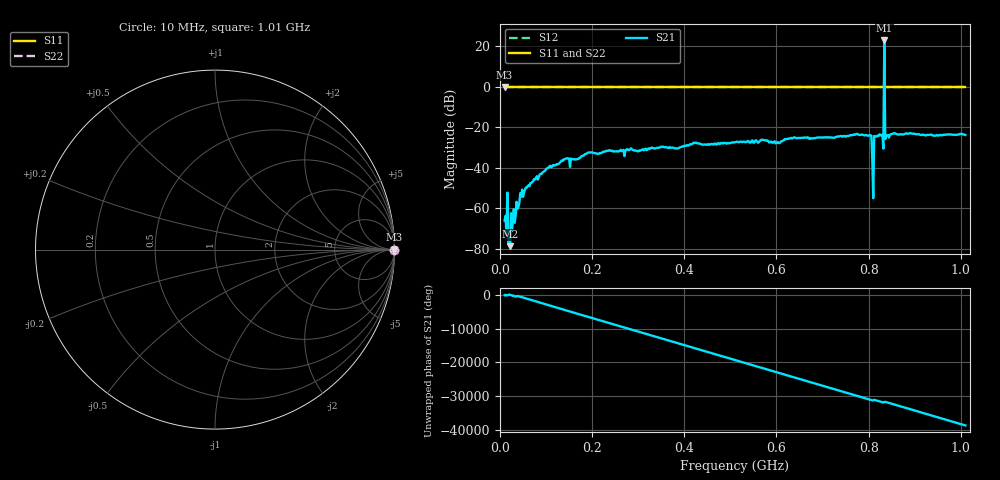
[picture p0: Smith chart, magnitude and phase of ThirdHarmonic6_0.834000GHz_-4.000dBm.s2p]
! 8/16/2025 3:39:57 AM
! C:\ANRITSUVNA\TEMP\TEMP.S2P
! CHANNEL.1
! TR.MEASUREMENT
! RAW.DATA
! RF.CORRECTION.OFF
! AVERAGING.OFF
! IF.BANDWIDTH: 5KHZ
! SWEEPTYPE:  FREQ.SWEEP(Linear)
! Reference Plane Port Info
! PORT:  PORT1  PORT2
! DISTANCE:  0  m  0  m
! TIME:  0  s  0  s
! PHASE.OFFSET:  0  deg.  0  deg.
! LOSS:  0  dB  0  dB
! REF.LOSS:  0  dB  0  dB
! REF.FREQ:  0  Hz  0  Hz
! Power Info
! POWER:  -20  dBm  -20  dBm
! EFF.POWER:  -20  dBm  -20  dBm
! SOURCE.ATTEN:  0  dB  0  dB
! TEST.ATTEN:  0  dB  0  dB
# GHZ S RI R 50.0
! FREQ.GHZ  S11RE  S11IM  S21RE  S21IM  S12RE  S12IM  S22RE  S22IM
!; PortSelection: Port_12
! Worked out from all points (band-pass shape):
!   501 points, 10 MHz to 1.01 GHz, reference 50 ohm
!   highest |S21| = 22.98 dB at 834 MHz (marker M1); lowest = -78.6 dB at 22 MHz (marker M2)
!   |S21| within 3 dB of the highest: 833.8877 MHz to 834.1232 MHz (235.5 kHz wide, 0.0282 % of centre)
!   lowest |S11| = 0.0 dB at 10 MHz (marker M3)
!   |S11| at or under -10 dB: nowhere
!   |S22| runs from 0.0 to 0.0 dB; largest |S21 - S12| = 13
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0.01  1 0  0.000417 -0.000283  1 0  1 0
0.012  1 0  0.000269 0.000598  1 0  1 0
0.022  1 0  7.02e-05 9.37e-05  1 0  1 0
0.028  1 0  -0.000211 0.000511  1 0  1 0
0.04  1 0  0.000755 0.000808  1 0  1 0
0.058  1 0  0.00301 0.00128  1 0  1 0
0.106  1 0  -0.00741 -0.00697  1 0  1 0
0.178  1 0  -0.0193 -0.00459  1 0  1 0
0.344  1 0  0.0307 -0.00629  1 0  1 0
0.51  1 0  -0.0411 0.0137  1 0  1 0
0.678  1 0  -0.021 -0.0492  1 0  1 0
0.802  1 0  0.0252 -0.0589  1 0  1 0
0.806  1 0  -0.0413 0.0469  1 0  1 0
0.812  1 0  -0.0232 -0.0566  1 0  1 0
0.816  1 0  0.000427 0.0601  1 0  1 0
0.828  1 0  0.0558 -0.0315  1 0  1 0
0.83  1 0  -0.0221 -0.0622  1 0  1 0
0.834  1 0  9.754 -10.17  1 0  1 0
0.838  1 0  0.0182 -0.0578  1 0  1 0
0.84  1 0  -0.0553 -0.0318  1 0  1 0
0.844  1 0  0.0402 0.0396  1 0  1 0
1.01  1 0  -0.0608 -0.0234  1 0  1 0
